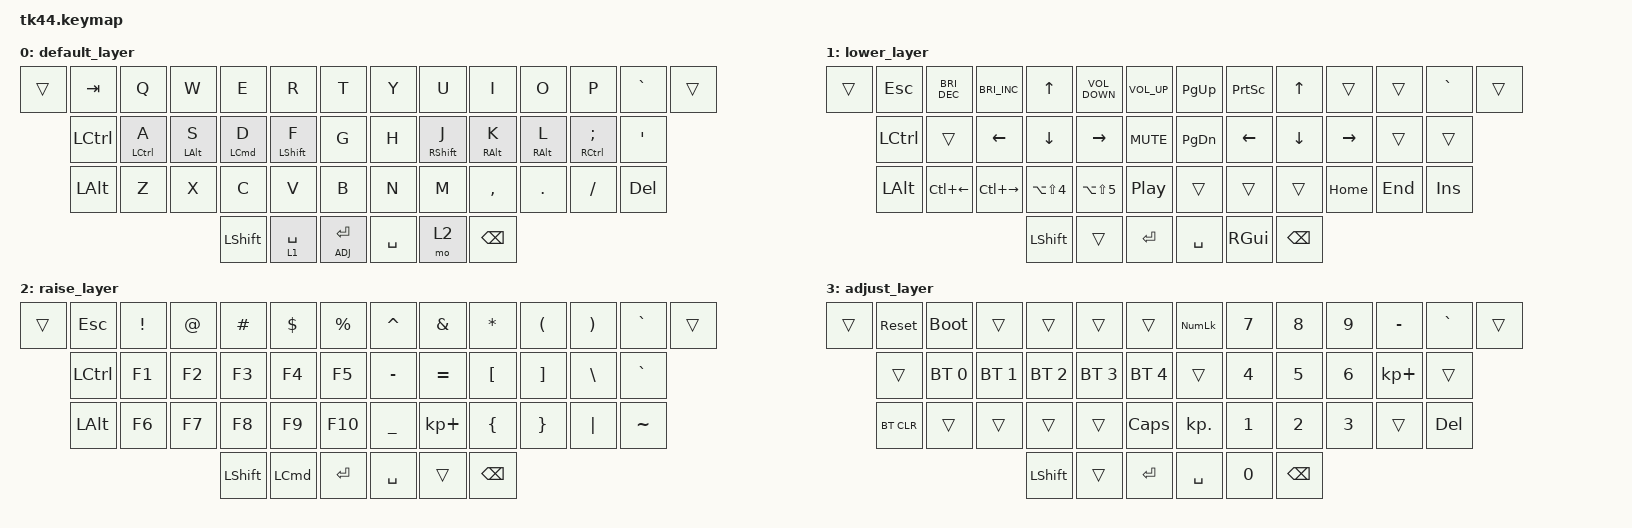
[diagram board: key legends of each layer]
/*
 * Copyright (c) 2022 The ZMK Contributors
 *
 * SPDX-License-Identifier: MIT
 */

#include <behaviors.dtsi>
#include <dt-bindings/zmk/bt.h>
#include <dt-bindings/zmk/keys.h>

#define DEF 0
#define LWR 1
#define RSE 2
#define ADJ 3

&lt {
    quick_tap_ms = <200>;
};

&mt {
    quick_tap_ms = <200>;
};

/ {
    behaviors {
        hm: homerow_mods {
            compatible = "zmk,behavior-hold-tap";
            label = "HOMEROW_MODS";
            #binding-cells = <2>;
            tapping-term-ms = <200>;
            quick_tap_ms = <0>;
            flavor = "tap-preferred";
            bindings =
                <&kp>,
                <&kp>;
        };
    };
};

/ {
    keymap {
        compatible = "zmk,keymap";

        default_layer {
            // -----------------------------------------------------------------------------------------
            // |  GUI |   ~  |  Q  |  W  |  E  |  R  |  T  |   |  Y  |  U   |  I  |  O  |  P  |  [   | GUI/] |
            //        | CTRL |  A  |  S  |  D  |  F  |  G  |   |  H  |  J   |  K  |  L  |  ;  |CTRL/'|
            //        | LALT |  Z  |  X  |  C  |  V  |  B  |   |  N  |  M   |  ,  |  .  |  /  | RALT |
            //                           | RSE | SPC | LWR |   | LWR | BKSP | RSE |

            bindings = <
&trans    &kp TAB        &kp Q           &kp W               &kp E             &kp R          &kp T        &kp Y              &kp U            &kp I            &kp O                        &kp P   &kp GRAVE  &trans
        &kp LCTRL  &hm LCTRL A  &hm LEFT_ALT S  &hm LEFT_COMMAND D  &hm LEFT_SHIFT F          &kp G        &kp H  &hm RIGHT_SHIFT J  &hm RIGHT_ALT K  &hm RIGHT_ALT L  &hm RIGHT_CONTROL SEMICOLON     &kp SQT
         &kp LALT        &kp Z           &kp X               &kp C             &kp V          &kp B        &kp N              &kp M        &kp COMMA          &kp DOT                     &kp FSLH  &kp DELETE
                                                         &kp LSHFT       &lt 1 SPACE  &lt ADJ ENTER    &kp SPACE              &mo 2    &kp BACKSPACE
            >;
        };

        lower_layer {
            // -----------------------------------------------------------------------------------------
            // |     |  _  |  F1 |  F2 |  F3 |  F4 |  F5 |   |  F6 |  F7 |  F8 |  F9 | F10 | F11 | F12 |
            //       |  +  |  !  |  @  |  #  |  $  |  %  |   |  ^  |  &  |  *  |  (  |  )  |  -  |
            //       |  =  |  1  |  2  |  3  |  4  |  5  |   |  6  |  7  |  8  |  9  |  0  |     |
            //                    | GUI |     | SPC |   | ENT |     | ALT |

            bindings = <
&trans  &kp ESCAPE  &kp C_BRIGHTNESS_DEC  &kp C_BRIGHTNESS_INC          &kp UP_ARROW     &kp C_VOLUME_DOWN   &kp C_VOLUME_UP      &kp PAGE_UP      &kp PSCRN         &kp UP     &trans   &trans  &kp GRAVE  &trans
         &kp LCTRL                &trans        &kp LEFT_ARROW        &kp DOWN_ARROW       &kp RIGHT_ARROW        &kp K_MUTE    &kp PAGE_DOWN       &kp LEFT       &kp DOWN  &kp RIGHT   &trans     &trans
          &kp LALT          &kp LC(LEFT)         &kp LC(RIGHT)  &kp LA(LS(NUMBER_4))  &kp LA(LS(NUMBER_5))  &kp C_PLAY_PAUSE           &trans         &trans         &trans   &kp HOME  &kp END    &kp INS
                                                                           &kp LSHFT                &trans         &kp ENTER        &kp SPACE  &kp RIGHT_GUI  &kp BACKSPACE
            >;
        };

        raise_layer {
            // -----------------------------------------------------------------------------------------
            // |     | NMLK |  /  |  7  |  8  |  9  |  -  |   | VOLU| HOME| PRSC| PGUP| SCLK| CLCK|     |
            //       | CTRL |  *  |  4  |  5  |  6  |  +  |   | MUT | LEFT|  UP | RGHT| INS | APP |
            //       |      |  0  |  1  |  2  |  3  |  .  |   | VOLD| END | DOWN| PGDN| PAUS|     |
            //                          |     |     | ADJ |   | ADJ |     |     |

            bindings = <
&trans    &kp ESC  &kp EXCL  &kp AT   &kp HASH          &kp DLLR  &kp PRCNT    &kp CARET     &kp AMPS       &kp STAR  &kp LPAR  &kp RPAR  &kp GRAVE  &trans
        &kp LCTRL    &kp F1  &kp F2     &kp F3            &kp F4     &kp F5    &kp MINUS    &kp EQUAL       &kp LBKT  &kp RBKT  &kp BSLH  &kp GRAVE
         &kp LALT    &kp F6  &kp F7     &kp F8            &kp F9    &kp F10    &kp UNDER  &kp KP_PLUS       &kp LBRC  &kp RBRC  &kp PIPE  &kp TILDE
                                     &kp LSHFT  &kp LEFT_COMMAND  &kp ENTER    &kp SPACE       &trans  &kp BACKSPACE
            >;
        };

        adjust_layer {
            // -----------------------------------------------------------------------------------------
            // | RST | BLDR |     |     |     |     |     |   |     |     |     |     |     | BLDR | RST |
            //       | BTCLR| BT0 | BT1 | BT2 | BT3 | BT4 |   | BT4 | BT3 | BT2 | BT1 | BT0 | BTCLR|
            //       |      |     |     |     |     |     |   |     |     |     |     |     |      |
            //                          |     |     |     |   |     |     |     |

            bindings = <
&trans  &sys_reset   &bootloader        &trans        &trans        &trans        &trans    &kp KP_NUM  &kp N7         &kp N8  &kp N9    &kp MINUS   &kp GRAVE  &trans
            &trans  &bt BT_SEL 0  &bt BT_SEL 1  &bt BT_SEL 2  &bt BT_SEL 3  &bt BT_SEL 4        &trans  &kp N4         &kp N5  &kp N6  &kp KP_PLUS      &trans
        &bt BT_CLR        &trans        &trans        &trans        &trans  &kp CAPSLOCK    &kp KP_DOT  &kp N1         &kp N2  &kp N3       &trans  &kp DELETE
                                                   &kp LSHFT        &trans     &kp ENTER     &kp SPACE  &kp N0  &kp BACKSPACE
            >;
        };
    };
};
